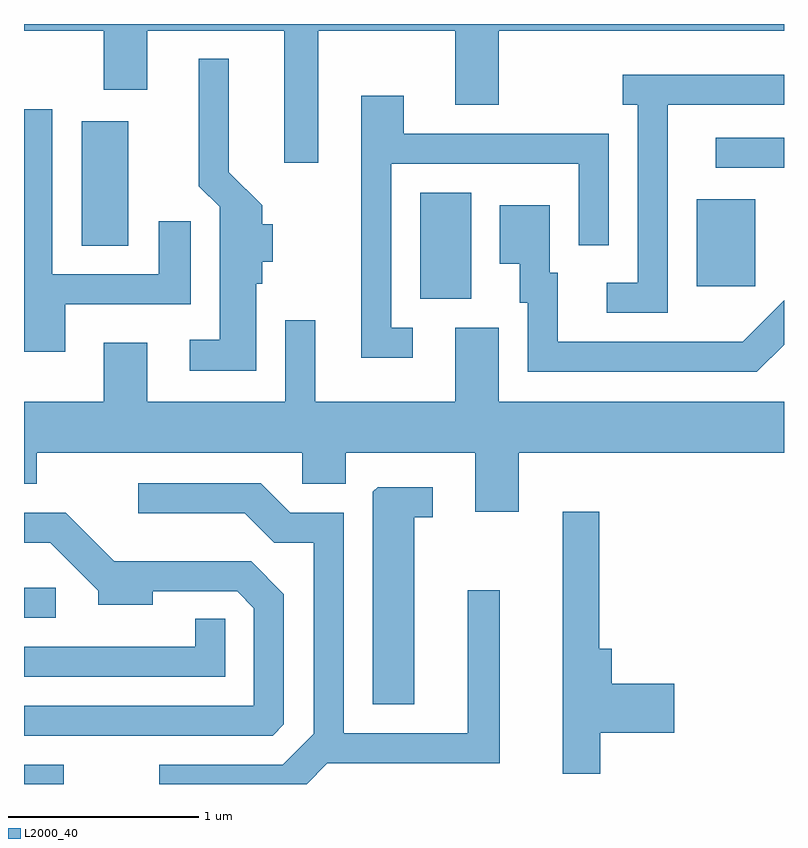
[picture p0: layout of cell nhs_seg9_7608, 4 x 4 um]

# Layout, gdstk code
import gdstk
lib = gdstk.Library(unit=1e-6, precision=1e-09)
def R(c, l, rs):  # rectangles x0, y0, x1, y1
    for r in rs: c.add(gdstk.rectangle(r[:2], r[2:], *l))
def P(c, l, *ps):  # polygons
    for p in ps: c.add(gdstk.Polygon(p, *l))
L2000_40 = (2000, 40)

nhs_seg9_7608 = lib.new_cell('nhs_seg9_7608')
R(nhs_seg9_7608, L2000_40, [(409.611,2074.432,409.819,2074.534), (409.611,2075.306,409.778,2075.464), (411.696,2076.986,411.964,2077.544), (413.151,2077.051,413.459,2077.509), (409.916,2077.266,410.159,2077.919), (413.253,2077.676,413.611,2077.834)])
P(nhs_seg9_7608, L2000_40, [(411.159,2078.396),(411.881,2078.396),(411.881,2078.006),(412.109,2078.006),(412.109,2078.396),(413.611,2078.396),(413.611,2078.432),(409.611,2078.432),(409.611,2078.396),(410.031,2078.396),(410.031,2078.086),(410.259,2078.086),(410.259,2078.396),(410.981,2078.396),(410.981,2077.701),(411.159,2077.701)],
  [(410.834,2077.066),(410.864,2077.066),(410.864,2077.181),(410.919,2077.181),(410.919,2077.379),(410.864,2077.379),(410.864,2077.477),(410.689,2077.652),(410.689,2078.248),(410.531,2078.248),(410.531,2077.579),(410.641,2077.469),(410.641,2076.769),(410.483,2076.769),(410.483,2076.606),(410.834,2076.606)],
  [(412.999,2078.006),(413.611,2078.006),(413.611,2078.164),(412.763,2078.164),(412.763,2078.006),(412.841,2078.006),(412.841,2077.069),(412.678,2077.069),(412.678,2076.911),(412.999,2076.911)],
  [(411.658,2076.834),(411.544,2076.834),(411.544,2077.696),(412.531,2077.696),(412.531,2077.268),(412.689,2077.268),(412.689,2077.854),(411.609,2077.854),(411.609,2078.054),(411.386,2078.054),(411.386,2076.676),(411.658,2076.676)],
  [(409.829,2076.956),(410.489,2076.956),(410.489,2077.393),(410.321,2077.393),(410.321,2077.114),(409.759,2077.114),(409.759,2077.984),(409.611,2077.984),(409.611,2076.706),(409.829,2076.706)],
  [(413.611,2076.745),(413.611,2076.977),(413.394,2076.759),(412.419,2076.759),(412.419,2077.124),(412.379,2077.124),(412.379,2077.479),(412.116,2077.479),(412.116,2077.171),(412.221,2077.171),(412.221,2076.966),(412.261,2076.966),(412.261,2076.601),(413.467,2076.601)],
  [(412.214,2076.176),(413.611,2076.176),(413.611,2076.444),(412.109,2076.444),(412.109,2076.834),(411.881,2076.834),(411.881,2076.444),(411.144,2076.444),(411.144,2076.873),(410.986,2076.873),(410.986,2076.444),(410.259,2076.444),(410.259,2076.754),(410.031,2076.754),(410.031,2076.444),(409.611,2076.444),(409.611,2076.011),(409.679,2076.011),(409.679,2076.176),(411.076,2076.176),(411.076,2076.011),(411.304,2076.011),(411.304,2076.176),(411.986,2076.176),(411.986,2075.866),(412.214,2075.866)],
  [(411.207,2074.541),(412.114,2074.541),(412.114,2075.452),(411.946,2075.452),(411.946,2074.699),(411.294,2074.699),(411.294,2075.859),(411.012,2075.859),(410.857,2076.014),(410.213,2076.014),(410.213,2075.856),(410.774,2075.856),(410.929,2075.701),(411.136,2075.701),(411.136,2074.697),(410.974,2074.534),(410.323,2074.534),(410.323,2074.432),(411.098,2074.432)],
  [(411.664,2075.836),(411.763,2075.836),(411.763,2075.994),(411.472,2075.994),(411.446,2075.969),(411.446,2074.851),(411.664,2074.851)],
  [(412.644,2074.701),(413.034,2074.701),(413.034,2074.959),(412.704,2074.959),(412.704,2075.144),(412.639,2075.144),(412.639,2075.864),(412.446,2075.864),(412.446,2074.486),(412.644,2074.486)],
  [(410.979,2074.747),(410.979,2075.432),(410.807,2075.604),(410.087,2075.604),(409.832,2075.859),(409.611,2075.859),(409.611,2075.701),(409.749,2075.701),(410.001,2075.449),(410.001,2075.376),(410.289,2075.376),(410.289,2075.446),(410.734,2075.446),(410.821,2075.358),(410.821,2074.844),(409.611,2074.844),(409.611,2074.686),(410.919,2074.686)],
  [(410.669,2075.303),(410.511,2075.303),(410.511,2075.154),(409.611,2075.154),(409.611,2074.996),(410.669,2074.996)])

lib.write_gds('nhs_seg9_7608.gds')
